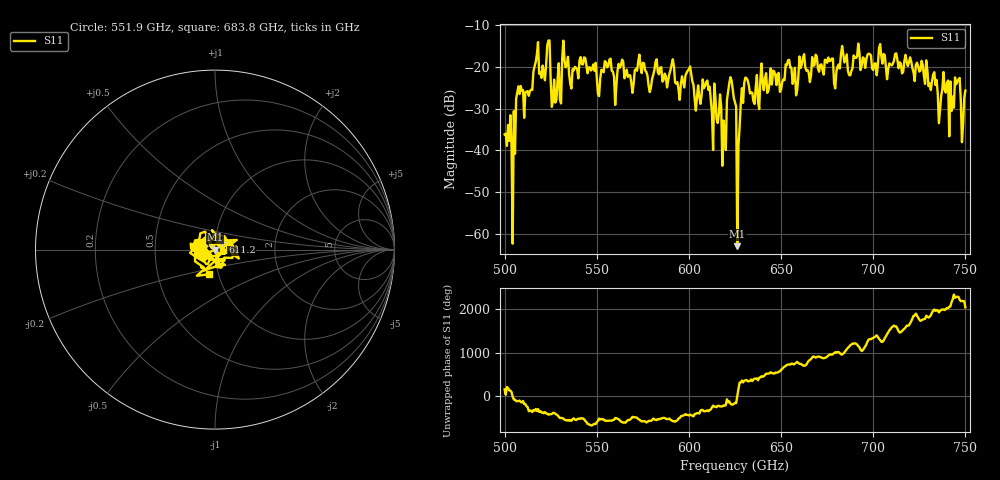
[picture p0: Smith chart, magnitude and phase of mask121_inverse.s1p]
!Created with skrf (http://scikit-rf.org).
# GHz S MA R 50.0
!freq magS11 angS11
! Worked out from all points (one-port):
!   401 points, 500 GHz to 750 GHz, reference 50 ohm
!   lowest |S11| = -62.9 dB at 626.2 GHz (marker M1), VSWR 1.00, Z = 50.1 + j0.0107 ohm
!   |S11| at or under -10 dB: start of sweep to end of sweep
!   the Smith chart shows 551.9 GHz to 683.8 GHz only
!   S11 on the Smith chart (normalised r, x): 551.9 GHz: 0.87, -0.02; 611.2 GHz: 1.08, +0.09; 683.8 GHz: 0.91, -0.25
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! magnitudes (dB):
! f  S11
! 500 GHz  -36.2
! 504.4 GHz  -62.3
! 507.5 GHz  -24.6
! 513.8 GHz  -25.8
! 516.9 GHz  -18.9
! 523.8 GHz  -13.7
! 526.9 GHz  -23.1
! 531.2 GHz  -17.9
! 551.9 GHz  -22.8
! 562.5 GHz  -20.2
! 593.8 GHz  -23.6
! 600 GHz  -20.6
! 611.2 GHz  -24.7
! 618.8 GHz  -32.8
! 623.1 GHz  -23.2
! 624.4 GHz  -27.5
! 625 GHz  -28.5
! 626.2 GHz  -62.9
! 631.2 GHz  -22.7
! 656.2 GHz  -24.1
! 683.8 GHz  -17.0
! 687.5 GHz  -22.1
! 718.8 GHz  -19.8
! 736.2 GHz  -30.3
! 739.4 GHz  -26.2
! 742.5 GHz  -30.6
! 745.6 GHz  -23.6
! 750 GHz  -25.7
